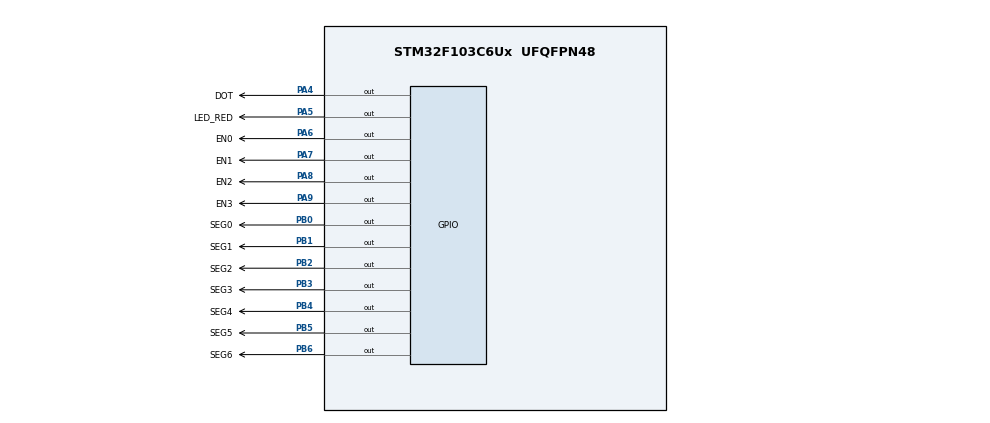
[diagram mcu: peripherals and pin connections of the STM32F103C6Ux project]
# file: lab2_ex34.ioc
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Mcu.Family=STM32F1
Mcu.Name=STM32F103C6Ux
Mcu.Package=UFQFPN48
NVIC.PriorityGroup=NVIC_PRIORITYGROUP_4
NVIC.TIM2_IRQn=true\:0\:0\:false\:false\:true\:true\:true\:true
PA13.Mode=Serial_Wire
PA13.Signal=SYS_JTMS-SWDIO
PA14.Mode=Serial_Wire
PA14.Signal=SYS_JTCK-SWCLK
PA4.GPIO_Label=DOT
PA4.Signal=GPIO_Output
PA5.GPIO_Label=LED_RED
PA5.Signal=GPIO_Output
PA6.GPIO_Label=EN0
PA6.Signal=GPIO_Output
PA7.GPIO_Label=EN1
PA7.Signal=GPIO_Output
PA8.GPIO_Label=EN2
PA8.Signal=GPIO_Output
PA9.GPIO_Label=EN3
PA9.Signal=GPIO_Output
PB0.GPIO_Label=SEG0
PB0.Signal=GPIO_Output
PB1.GPIO_Label=SEG1
PB1.Signal=GPIO_Output
PB2.GPIO_Label=SEG2
PB2.Signal=GPIO_Output
PB3.GPIO_Label=SEG3
PB3.Signal=GPIO_Output
PB4.GPIO_Label=SEG4
PB4.Signal=GPIO_Output
PB5.GPIO_Label=SEG5
PB5.Signal=GPIO_Output
PB6.GPIO_Label=SEG6
PB6.Signal=GPIO_Output
ProjectManager.HeapSize=0x200
ProjectManager.StackSize=0x400
ProjectManager.TargetToolchain=STM32CubeIDE
RCC.APB1Freq_Value=8000000
RCC.APB2Freq_Value=8000000
TIM2.Period=9
TIM2.Prescaler=7999
VP_TIM2_VS_ClockSourceINT.Mode=Internal
board=custom

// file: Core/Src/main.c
/* USER CODE BEGIN Header */
/**
  ******************************************************************************
  * @file           : main.c
  * @brief          : Main program body
  ******************************************************************************
  * @attention
  *
  * Copyright (c) 2025 STMicroelectronics.
  * All rights reserved.
  *
  * This software is licensed under terms that can be found in the LICENSE file
  * in the root directory of this software component.
  * If no LICENSE file comes with this software, it is provided AS-IS.
  *
  ******************************************************************************
  */
/* USER CODE END Header */
#include "main.h"

TIM_HandleTypeDef htim2;

/* USER CODE BEGIN PV */
int led_counter = 100;
int seg_counter = 50;
int active_digit = 0;
const int MAX_LED = 4;
int index_led = 0;
int led_buffer [4] = {9 , 4 , 7 , 5};

/* USER CODE END PV */

void SystemClock_Config(void);
static void MX_GPIO_Init(void);
static void MX_TIM2_Init(void);
/* USER CODE BEGIN PFP */
void display7SEG(int);
void update7SEG(int);

/* USER CODE END PFP */

int main(void)
{

  /* MCU Configuration--------------------------------------------------------*/

  /* Reset of all peripherals, Initializes the Flash interface and the Systick. */
  HAL_Init();

  /* Configure the system clock */
  SystemClock_Config();

  /* Initialize all configured peripherals */
  MX_GPIO_Init();
  MX_TIM2_Init();
  /* USER CODE BEGIN 2 */
  HAL_TIM_Base_Start_IT(&htim2);
  HAL_GPIO_WritePin(GPIOA, LED_RED_Pin, GPIO_PIN_RESET);
  HAL_GPIO_WritePin(GPIOA, DOT_Pin, GPIO_PIN_RESET);
  /* USER CODE END 2 */

  /* Infinite loop */
  while (1)
  {

  }
}

void SystemClock_Config(void)
{
  RCC_OscInitTypeDef RCC_OscInitStruct = {0};
  RCC_ClkInitTypeDef RCC_ClkInitStruct = {0};

  /** Initializes the RCC Oscillators according to the specified parameters
  * in the RCC_OscInitTypeDef structure.
  */
  RCC_OscInitStruct.OscillatorType = RCC_OSCILLATORTYPE_HSI;
  RCC_OscInitStruct.HSIState = RCC_HSI_ON;
  RCC_OscInitStruct.HSICalibrationValue = RCC_HSICALIBRATION_DEFAULT;
  RCC_OscInitStruct.PLL.PLLState = RCC_PLL_NONE;
  if (HAL_RCC_OscConfig(&RCC_OscInitStruct) != HAL_OK)
  {
    Error_Handler();
  }

  /** Initializes the CPU, AHB and APB buses clocks
  */
  RCC_ClkInitStruct.ClockType = RCC_CLOCKTYPE_HCLK|RCC_CLOCKTYPE_SYSCLK
                              |RCC_CLOCKTYPE_PCLK1|RCC_CLOCKTYPE_PCLK2;
  RCC_ClkInitStruct.SYSCLKSource = RCC_SYSCLKSOURCE_HSI;
  RCC_ClkInitStruct.AHBCLKDivider = RCC_SYSCLK_DIV1;
  RCC_ClkInitStruct.APB1CLKDivider = RCC_HCLK_DIV1;
  RCC_ClkInitStruct.APB2CLKDivider = RCC_HCLK_DIV1;

  if (HAL_RCC_ClockConfig(&RCC_ClkInitStruct, FLASH_LATENCY_0) != HAL_OK)
  {
    Error_Handler();
  }
}

static void MX_TIM2_Init(void)
{

  TIM_ClockConfigTypeDef sClockSourceConfig = {0};
  TIM_MasterConfigTypeDef sMasterConfig = {0};

  htim2.Instance = TIM2;
  htim2.Init.Prescaler = 7999;
  htim2.Init.CounterMode = TIM_COUNTERMODE_UP;
  htim2.Init.Period = 9;
  htim2.Init.ClockDivision = TIM_CLOCKDIVISION_DIV1;
  htim2.Init.AutoReloadPreload = TIM_AUTORELOAD_PRELOAD_DISABLE;
  if (HAL_TIM_Base_Init(&htim2) != HAL_OK)
  {
    Error_Handler();
  }
  sClockSourceConfig.ClockSource = TIM_CLOCKSOURCE_INTERNAL;
  if (HAL_TIM_ConfigClockSource(&htim2, &sClockSourceConfig) != HAL_OK)
  {
    Error_Handler();
  }
  sMasterConfig.MasterOutputTrigger = TIM_TRGO_RESET;
  sMasterConfig.MasterSlaveMode = TIM_MASTERSLAVEMODE_DISABLE;
  if (HAL_TIMEx_MasterConfigSynchronization(&htim2, &sMasterConfig) != HAL_OK)
  {
    Error_Handler();
  }

}

static void MX_GPIO_Init(void)
{
  GPIO_InitTypeDef GPIO_InitStruct = {0};

  /* GPIO Ports Clock Enable */
  __HAL_RCC_GPIOA_CLK_ENABLE();
  __HAL_RCC_GPIOB_CLK_ENABLE();

  /*Configure GPIO pin Output Level */
  HAL_GPIO_WritePin(GPIOA, DOT_Pin|LED_RED_Pin|EN0_Pin|EN1_Pin
                          |EN2_Pin|EN3_Pin, GPIO_PIN_RESET);

  /*Configure GPIO pin Output Level */
  HAL_GPIO_WritePin(GPIOB, SEG0_Pin|SEG1_Pin|SEG2_Pin|SEG3_Pin
                          |SEG4_Pin|SEG5_Pin|SEG6_Pin, GPIO_PIN_RESET);

  /*Configure GPIO pins : DOT_Pin LED_RED_Pin EN0_Pin EN1_Pin
                           EN2_Pin EN3_Pin */
  GPIO_InitStruct.Pin = DOT_Pin|LED_RED_Pin|EN0_Pin|EN1_Pin
                          |EN2_Pin|EN3_Pin;
  GPIO_InitStruct.Mode = GPIO_MODE_OUTPUT_PP;
  GPIO_InitStruct.Pull = GPIO_NOPULL;
  GPIO_InitStruct.Speed = GPIO_SPEED_FREQ_LOW;
  HAL_GPIO_Init(GPIOA, &GPIO_InitStruct);

  /*Configure GPIO pins : SEG0_Pin SEG1_Pin SEG2_Pin SEG3_Pin
                           SEG4_Pin SEG5_Pin SEG6_Pin */
  GPIO_InitStruct.Pin = SEG0_Pin|SEG1_Pin|SEG2_Pin|SEG3_Pin
                          |SEG4_Pin|SEG5_Pin|SEG6_Pin;
  GPIO_InitStruct.Mode = GPIO_MODE_OUTPUT_PP;
  GPIO_InitStruct.Pull = GPIO_NOPULL;
  GPIO_InitStruct.Speed = GPIO_SPEED_FREQ_LOW;
  HAL_GPIO_Init(GPIOB, &GPIO_InitStruct);

}

/* USER CODE BEGIN 4 */
void HAL_TIM_PeriodElapsedCallback(TIM_HandleTypeDef *htim) {
	led_counter--;
	seg_counter--;

	 if (led_counter <= 0)
	    {
	      HAL_GPIO_TogglePin(GPIOA, LED_RED_Pin);
	      HAL_GPIO_TogglePin(GPIOA, DOT_Pin);
	      led_counter = 100;
	    }

	 if (seg_counter <= 0) {
		 update7SEG(index_led++);
		 if (index_led >= MAX_LED) index_led = 0;
		 seg_counter = 100;
	 }
}
void display7SEG(int num) {
    switch(num) {
        case 0:
            HAL_GPIO_WritePin(GPIOB, SEG0_Pin, GPIO_PIN_RESET);
            HAL_GPIO_WritePin(GPIOB, SEG1_Pin, GPIO_PIN_RESET);
            HAL_GPIO_WritePin(GPIOB, SEG2_Pin, GPIO_PIN_RESET);
            HAL_GPIO_WritePin(GPIOB, SEG3_Pin, GPIO_PIN_RESET);
            HAL_GPIO_WritePin(GPIOB, SEG4_Pin, GPIO_PIN_RESET);
            HAL_GPIO_WritePin(GPIOB, SEG5_Pin, GPIO_PIN_RESET);
            HAL_GPIO_WritePin(GPIOB, SEG6_Pin, GPIO_PIN_SET);
            break;

        case 1:
            HAL_GPIO_WritePin(GPIOB, SEG0_Pin, GPIO_PIN_SET);
            HAL_GPIO_WritePin(GPIOB, SEG1_Pin, GPIO_PIN_RESET);
            HAL_GPIO_WritePin(GPIOB, SEG2_Pin, GPIO_PIN_RESET);
            HAL_GPIO_WritePin(GPIOB, SEG3_Pin, GPIO_PIN_SET);
            HAL_GPIO_WritePin(GPIOB, SEG4_Pin, GPIO_PIN_SET);
            HAL_GPIO_WritePin(GPIOB, SEG5_Pin, GPIO_PIN_SET);
            HAL_GPIO_WritePin(GPIOB, SEG6_Pin, GPIO_PIN_SET);
            break;

        case 2:
            HAL_GPIO_WritePin(GPIOB, SEG0_Pin, GPIO_PIN_RESET);
            HAL_GPIO_WritePin(GPIOB, SEG1_Pin, GPIO_PIN_RESET);
            HAL_GPIO_WritePin(GPIOB, SEG2_Pin, GPIO_PIN_SET);
            HAL_GPIO_WritePin(GPIOB, SEG3_Pin, GPIO_PIN_RESET);
            HAL_GPIO_WritePin(GPIOB, SEG4_Pin, GPIO_PIN_RESET);
            HAL_GPIO_WritePin(GPIOB, SEG5_Pin, GPIO_PIN_SET);
            HAL_GPIO_WritePin(GPIOB, SEG6_Pin, GPIO_PIN_RESET);
            break;

        case 3:
            HAL_GPIO_WritePin(GPIOB, SEG0_Pin, GPIO_PIN_RESET);
            HAL_GPIO_WritePin(GPIOB, SEG1_Pin, GPIO_PIN_RESET);
            HAL_GPIO_WritePin(GPIOB, SEG2_Pin, GPIO_PIN_RESET);
            HAL_GPIO_WritePin(GPIOB, SEG3_Pin, GPIO_PIN_RESET);
            HAL_GPIO_WritePin(GPIOB, SEG4_Pin, GPIO_PIN_SET);
            HAL_GPIO_WritePin(GPIOB, SEG5_Pin, GPIO_PIN_SET);
            HAL_GPIO_WritePin(GPIOB, SEG6_Pin, GPIO_PIN_RESET);
            break;

        case 4:
            HAL_GPIO_WritePin(GPIOB, SEG0_Pin, GPIO_PIN_SET);
            HAL_GPIO_WritePin(GPIOB, SEG1_Pin, GPIO_PIN_RESET);
            HAL_GPIO_WritePin(GPIOB, SEG2_Pin, GPIO_PIN_RESET);
            HAL_GPIO_WritePin(GPIOB, SEG3_Pin, GPIO_PIN_SET);
            HAL_GPIO_WritePin(GPIOB, SEG4_Pin, GPIO_PIN_SET);
            HAL_GPIO_WritePin(GPIOB, SEG5_Pin, GPIO_PIN_RESET);
            HAL_GPIO_WritePin(GPIOB, SEG6_Pin, GPIO_PIN_RESET);
            break;

        case 5:
            HAL_GPIO_WritePin(GPIOB, SEG0_Pin, GPIO_PIN_RESET);
            HAL_GPIO_WritePin(GPIOB, SEG1_Pin, GPIO_PIN_SET);
            HAL_GPIO_WritePin(GPIOB, SEG2_Pin, GPIO_PIN_RESET);
            HAL_GPIO_WritePin(GPIOB, SEG3_Pin, GPIO_PIN_RESET);
            HAL_GPIO_WritePin(GPIOB, SEG4_Pin, GPIO_PIN_SET);
            HAL_GPIO_WritePin(GPIOB, SEG5_Pin, GPIO_PIN_RESET);
            HAL_GPIO_WritePin(GPIOB, SEG6_Pin, GPIO_PIN_RESET);
            break;

        case 6:
            HAL_GPIO_WritePin(GPIOB, SEG0_Pin, GPIO_PIN_RESET);
            HAL_GPIO_WritePin(GPIOB, SEG1_Pin, GPIO_PIN_SET);
            HAL_GPIO_WritePin(GPIOB, SEG2_Pin, GPIO_PIN_RESET);
            HAL_GPIO_WritePin(GPIOB, SEG3_Pin, GPIO_PIN_RESET);
            HAL_GPIO_WritePin(GPIOB, SEG4_Pin, GPIO_PIN_RESET);
            HAL_GPIO_WritePin(GPIOB, SEG5_Pin, GPIO_PIN_RESET);
            HAL_GPIO_WritePin(GPIOB, SEG6_Pin, GPIO_PIN_RESET);
            break;

        case 7:
            HAL_GPIO_WritePin(GPIOB, SEG0_Pin, GPIO_PIN_RESET);
            HAL_GPIO_WritePin(GPIOB, SEG1_Pin, GPIO_PIN_RESET);
            HAL_GPIO_WritePin(GPIOB, SEG2_Pin, GPIO_PIN_RESET);
            HAL_GPIO_WritePin(GPIOB, SEG3_Pin, GPIO_PIN_SET);
            HAL_GPIO_WritePin(GPIOB, SEG4_Pin, GPIO_PIN_SET);
            HAL_GPIO_WritePin(GPIOB, SEG5_Pin, GPIO_PIN_SET);
            HAL_GPIO_WritePin(GPIOB, SEG6_Pin, GPIO_PIN_SET);
            break;

        case 8:
            HAL_GPIO_WritePin(GPIOB, SEG0_Pin, GPIO_PIN_RESET);
            HAL_GPIO_WritePin(GPIOB, SEG1_Pin, GPIO_PIN_RESET);
            HAL_GPIO_WritePin(GPIOB, SEG2_Pin, GPIO_PIN_RESET);
            HAL_GPIO_WritePin(GPIOB, SEG3_Pin, GPIO_PIN_RESET);
            HAL_GPIO_WritePin(GPIOB, SEG4_Pin, GPIO_PIN_RESET);
            HAL_GPIO_WritePin(GPIOB, SEG5_Pin, GPIO_PIN_RESET);
            HAL_GPIO_WritePin(GPIOB, SEG6_Pin, GPIO_PIN_RESET);
            break;

        case 9:
            HAL_GPIO_WritePin(GPIOB, SEG0_Pin, GPIO_PIN_RESET);
            HAL_GPIO_WritePin(GPIOB, SEG1_Pin, GPIO_PIN_RESET);
            HAL_GPIO_WritePin(GPIOB, SEG2_Pin, GPIO_PIN_RESET);
            HAL_GPIO_WritePin(GPIOB, SEG3_Pin, GPIO_PIN_RESET);
            HAL_GPIO_WritePin(GPIOB, SEG4_Pin, GPIO_PIN_SET);
            HAL_GPIO_WritePin(GPIOB, SEG5_Pin, GPIO_PIN_RESET);
            HAL_GPIO_WritePin(GPIOB, SEG6_Pin, GPIO_PIN_RESET);
            break;

        default:
            HAL_GPIO_WritePin(GPIOB, SEG0_Pin, GPIO_PIN_SET);
            HAL_GPIO_WritePin(GPIOB, SEG1_Pin, GPIO_PIN_SET);
            HAL_GPIO_WritePin(GPIOB, SEG2_Pin, GPIO_PIN_SET);
            HAL_GPIO_WritePin(GPIOB, SEG3_Pin, GPIO_PIN_SET);
            HAL_GPIO_WritePin(GPIOB, SEG4_Pin, GPIO_PIN_SET);
            HAL_GPIO_WritePin(GPIOB, SEG5_Pin, GPIO_PIN_SET);
            HAL_GPIO_WritePin(GPIOB, SEG6_Pin, GPIO_PIN_SET);
            break;
    }
}

void update7SEG(int index) {
    switch (index) {
        case 0:
            HAL_GPIO_WritePin(GPIOA, EN0_Pin, GPIO_PIN_RESET);
            HAL_GPIO_WritePin(GPIOA, EN1_Pin|EN2_Pin|EN3_Pin, GPIO_PIN_SET);
            display7SEG(led_buffer[0]);
            break;

        case 1:
            HAL_GPIO_WritePin(GPIOA, EN1_Pin, GPIO_PIN_RESET);
            HAL_GPIO_WritePin(GPIOA, EN0_Pin|EN2_Pin|EN3_Pin, GPIO_PIN_SET);
            display7SEG(led_buffer[1]);
            break;

        case 2:
            HAL_GPIO_WritePin(GPIOA, EN2_Pin, GPIO_PIN_RESET);
            HAL_GPIO_WritePin(GPIOA, EN0_Pin|EN1_Pin|EN3_Pin, GPIO_PIN_SET);
            display7SEG(led_buffer[2]);
            break;

        case 3:
            HAL_GPIO_WritePin(GPIOA, EN3_Pin, GPIO_PIN_RESET);
            HAL_GPIO_WritePin(GPIOA, EN0_Pin|EN1_Pin|EN2_Pin, GPIO_PIN_SET);
            display7SEG(led_buffer[3]);
            break;

        default:
            break;
    }
}

/* USER CODE END 4 */

void Error_Handler(void)
{
  __disable_irq();
  while (1)
  {
  }
}
